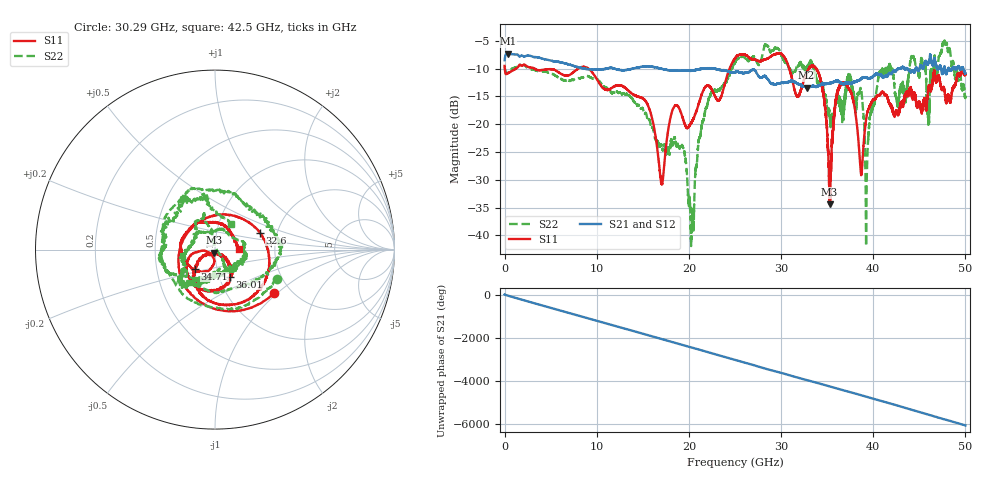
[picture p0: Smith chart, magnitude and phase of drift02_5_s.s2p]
!Created with skrf (http://scikit-rf.org).
# Hz S RI R 50.0
!freq ReS11 ImS11 ReS21 ImS21 ReS12 ImS12 ReS22 ImS22
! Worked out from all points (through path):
!   10001 points, 300 kHz to 50 GHz, reference 50 ohm
!   highest |S21| = -7.32 dB at 375.3 MHz (marker M1); lowest = -13.5 dB at 32.76 GHz (marker M2)
!   group delay of S21, straight-line fit = 335 ps
!   lowest |S11| = -34.4 dB at 35.27 GHz (marker M3), VSWR 1.04, Z = 49.3 - j1.74 ohm
!   |S11| at or under -10 dB: 3.239 GHz to 8.018 GHz (4.779 GHz wide, 84.9 % of centre); 9.099 GHz to 24.41 GHz (15.32 GHz wide, 91.4 % of centre); 33.83 GHz to end of sweep (the widest 3 of 9)
!   |S22| runs from -42.0 to -4.9 dB; largest |S21 - S12| = 0.013
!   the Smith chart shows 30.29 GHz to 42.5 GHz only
!   S11 on the Smith chart (normalised r, x): 30.29 GHz: 1.65, -0.95; 32.6 GHz: 1.62, +0.33; 34.71 GHz: 0.78, -0.17; 36.01 GHz: 1.13, -0.35; 42.5 GHz: 1.30, +0.01
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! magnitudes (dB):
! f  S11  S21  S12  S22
! 300 kHz  -9.5  -8.5  -8.4  -9.4
! 375.3 MHz  -10.8  -7.3  -7.3  -10.5
! 8.335 GHz  -9.7  -9.9  -9.9  -11.6
! 16.67 GHz  -25.9  -9.9  -9.9  -23.4
! 19.33 GHz  -18.8  -10.4  -10.4  -24.1
! 20.34 GHz  -19.5  -10.3  -10.3  -37.5
! 21.94 GHz  -13.1  -10.0  -9.9  -16.9
! 25 GHz  -8.2  -10.7  -10.7  -8.9
! 30.29 GHz  -7.8  -12.5  -12.7  -8.4
! 32.6 GHz  -11.5  -13.3  -13.4  -10.4
! 32.76 GHz  -10.8  -13.5  -13.4  -9.8
! 33.34 GHz  -9.6  -13.2  -13.2  -8.9
! 34.71 GHz  -16.3  -12.7  -12.7  -14.7
! 35.27 GHz  -34.4  -12.7  -12.6  -18.3
! 36.01 GHz  -15.3  -12.2  -12.2  -15.9
! 37.57 GHz  -14.2  -12.7  -12.7  -12.3
! 38.58 GHz  -27.0  -12.0  -12.0  -13.8
! 39.3 GHz  -18.3  -11.7  -11.7  -29.3
! 41.67 GHz  -15.9  -10.9  -11.1  -9.8
! 42.5 GHz  -17.6  -10.3  -10.2  -15.4
! 47.76 GHz  -14.2  -9.7  -9.7  -5.3
! 50 GHz  -11.1  -10.9  -10.9  -15.0
